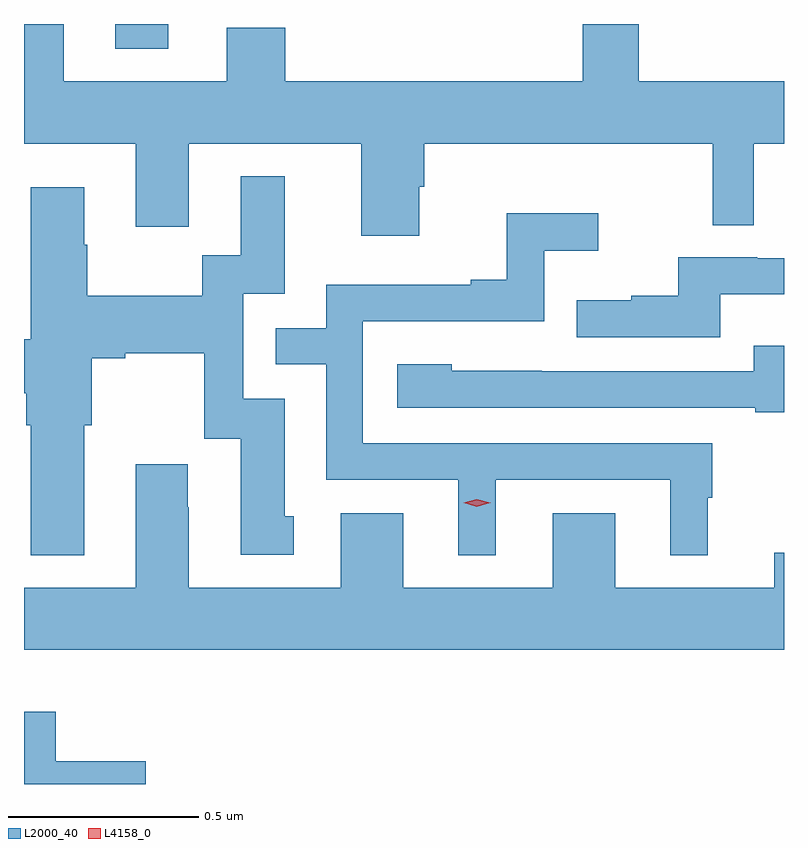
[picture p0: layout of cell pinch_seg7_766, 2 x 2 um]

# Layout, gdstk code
import gdstk
lib = gdstk.Library(unit=1e-6, precision=1e-09)
def R(c, l, rs):  # rectangles x0, y0, x1, y1
    for r in rs: c.add(gdstk.rectangle(r[:2], r[2:], *l))
def P(c, l, *ps):  # polygons
    for p in ps: c.add(gdstk.Polygon(p, *l))
L2000_40 = (2000, 40)
L4158_0 = (4158, 0)

pinch_seg7_766 = lib.new_cell('pinch_seg7_766')
R(pinch_seg7_766, L2000_40, [(319.055,1040.826,319.195,1040.891)])
P(pinch_seg7_766, L2000_40, [(319.855,1040.463),(319.868,1040.463),(319.868,1040.576),(320.628,1040.576),(320.628,1040.362),(320.736,1040.362),(320.736,1040.576),(320.815,1040.576),(320.815,1040.74),(320.433,1040.74),(320.433,1040.891),(320.285,1040.891),(320.285,1040.74),(319.502,1040.74),(319.502,1040.881),(319.349,1040.881),(319.349,1040.74),(318.919,1040.74),(318.919,1040.891),(318.815,1040.891),(318.815,1040.576),(319.109,1040.576),(319.109,1040.358),(319.249,1040.358),(319.249,1040.576),(319.703,1040.576),(319.703,1040.334),(319.855,1040.334)],
  [(318.973,1039.835),(318.993,1039.835),(318.993,1040.012),(319.081,1040.012),(319.081,1040.024),(319.289,1040.024),(319.289,1039.8),(319.385,1039.8),(319.385,1039.494),(319.525,1039.494),(319.525,1039.596),(319.501,1039.596),(319.501,1039.905),(319.392,1039.905),(319.392,1040.181),(319.501,1040.181),(319.501,1040.491),(319.385,1040.491),(319.385,1040.282),(319.284,1040.282),(319.284,1040.176),(318.981,1040.176),(318.981,1040.31),(318.973,1040.31),(318.973,1040.461),(318.833,1040.461),(318.833,1040.061),(318.815,1040.061),(318.815,1039.919),(318.821,1039.919),(318.821,1039.835),(318.833,1039.835),(318.833,1039.493),(318.973,1039.493)],
  [(320.056,1039.692),(320.516,1039.692),(320.516,1039.493),(320.614,1039.493),(320.614,1039.644),(320.626,1039.644),(320.626,1039.788),(319.707,1039.788),(319.707,1040.109),(320.184,1040.109),(320.184,1040.294),(320.326,1040.294),(320.326,1040.393),(320.086,1040.393),(320.086,1040.218),(319.991,1040.218),(319.991,1040.205),(319.611,1040.205),(319.611,1040.091),(319.477,1040.091),(319.477,1039.995),(319.611,1039.995),(319.611,1039.692),(319.958,1039.692),(319.958,1039.493),(320.056,1039.493)],
  [(320.647,1040.18),(320.815,1040.18),(320.815,1040.274),(320.744,1040.274),(320.744,1040.277),(320.537,1040.277),(320.537,1040.176),(320.413,1040.176),(320.413,1040.164),(320.269,1040.164),(320.269,1040.067),(320.647,1040.067)],
  [(320.815,1040.044),(320.735,1040.044),(320.735,1039.977),(320.177,1039.977),(320.177,1039.978),(319.941,1039.978),(319.941,1039.996),(319.797,1039.996),(319.797,1039.881),(320.739,1039.881),(320.739,1039.869),(320.815,1039.869)],
  [(320.815,1039.499),(320.789,1039.499),(320.789,1039.408),(320.371,1039.408),(320.371,1039.603),(320.207,1039.603),(320.207,1039.408),(319.813,1039.408),(319.813,1039.603),(319.649,1039.603),(319.649,1039.408),(319.249,1039.408),(319.249,1039.619),(319.246,1039.619),(319.246,1039.732),(319.109,1039.732),(319.109,1039.408),(318.815,1039.408),(318.815,1039.244),(320.815,1039.244)],
  [(319.135,1038.951),(318.899,1038.951),(318.899,1039.081),(318.815,1039.081),(318.815,1038.891),(319.135,1038.891)])
P(pinch_seg7_766, L4158_0, [(320.007,1039.621),(319.972,1039.631),(319.971,1039.631),(319.972,1039.631),(320.007,1039.641),(320.042,1039.631),(320.043,1039.631),(320.042,1039.631)])

lib.write_gds('pinch_seg7_766.gds')
